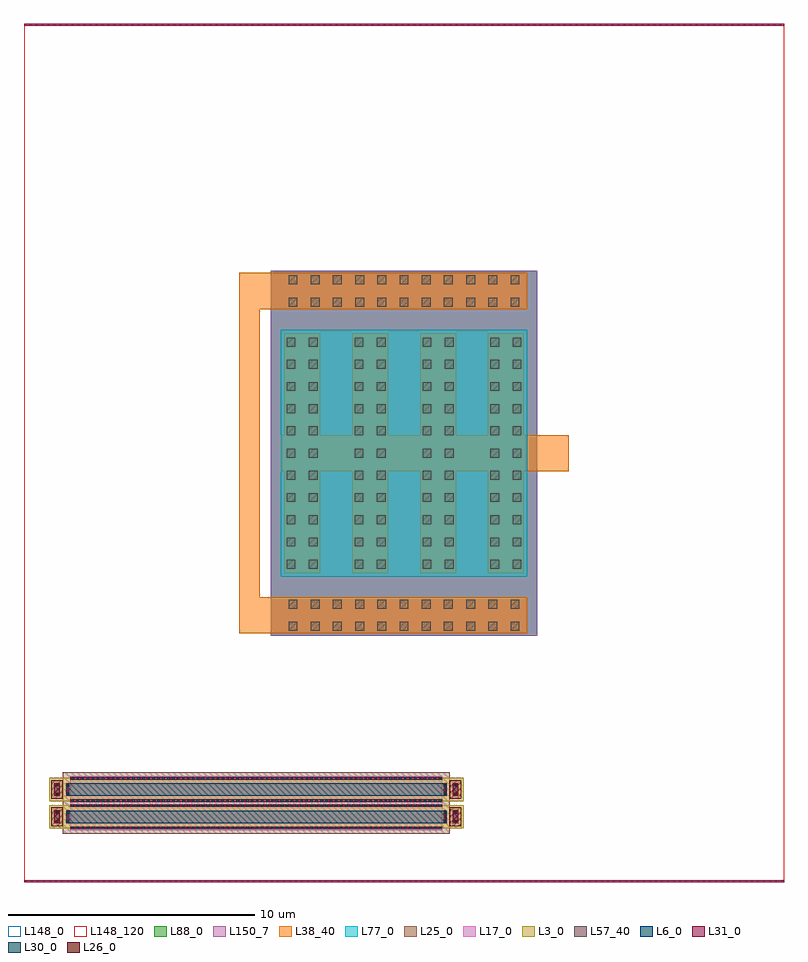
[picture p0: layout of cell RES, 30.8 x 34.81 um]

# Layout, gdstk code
import gdstk
lib = gdstk.Library(unit=1e-6, precision=1e-09)
def R(c, l, rs):  # rectangles x0, y0, x1, y1
    for r in rs: c.add(gdstk.rectangle(r[:2], r[2:], *l))
def A(c, l, x, y, w, h, nx, ny, dx, dy):  # array of equal rectangles
    R(c, l, [(x+i*dx, y+j*dy, x+i*dx+w, y+j*dy+h) for i in range(nx) for j in range(ny)])
L3_0 = (3, 0)
L6_0 = (6, 0)
L17_0 = (17, 0)
L25_0 = (25, 0)
L26_0 = (26, 0)
L30_0 = (30, 0)
L31_0 = (31, 0)
L38_40 = (38, 40)
L57_40 = (57, 40)
L77_0 = (77, 0)
L88_0 = (88, 0)
L148_0 = (148, 0)
L148_120 = (148, 120)
L150_7 = (150, 7)

mimcap_9m_2p0_cdns_73016 = lib.new_cell('mimcap_9m_2p0_CDNS_730165890590')
A(mimcap_9m_2p0_cdns_73016, L38_40, 0.14, 0.14, 1.46, 9.72, 3, 1, 2.755, 0)
R(mimcap_9m_2p0_cdns_73016, L38_40, [(-1.68,-2.3,-0.84,12.3), (-1.68,-2.3,0,-0.84), (0,-2.3,10,-0.84), (8.4,0.14,9.86,9.86), (0,4.27,11.68,5.73), (0,4.27,11.68,5.73), (10.84,4.27,11.68,5.73), (-1.68,10.84,0,12.3), (0,10.84,10,12.3)])
A(mimcap_9m_2p0_cdns_73016, L57_40, 0.32, -2.2, 0.36, 0.36, 11, 2, 0.9, 0.9)
A(mimcap_9m_2p0_cdns_73016, L57_40, 0.24, 0.32, 0.36, 0.36, 1, 11, 0, 0.9)
A(mimcap_9m_2p0_cdns_73016, L57_40, 1.14, 0.32, 0.36, 0.36, 1, 11, 0, 0.9)
A(mimcap_9m_2p0_cdns_73016, L57_40, 2.995, 0.32, 0.36, 0.36, 1, 11, 0, 0.9)
A(mimcap_9m_2p0_cdns_73016, L57_40, 3.895, 0.32, 0.36, 0.36, 1, 11, 0, 0.9)
A(mimcap_9m_2p0_cdns_73016, L57_40, 5.75, 0.32, 0.36, 0.36, 1, 11, 0, 0.9)
A(mimcap_9m_2p0_cdns_73016, L57_40, 6.65, 0.32, 0.36, 0.36, 1, 11, 0, 0.9)
A(mimcap_9m_2p0_cdns_73016, L57_40, 8.5, 0.32, 0.36, 0.36, 1, 11, 0, 0.9)
A(mimcap_9m_2p0_cdns_73016, L57_40, 9.4, 0.32, 0.36, 0.36, 1, 11, 0, 0.9)
A(mimcap_9m_2p0_cdns_73016, L57_40, 0.32, 10.94, 0.36, 0.36, 11, 2, 0.9, 0.9)
R(mimcap_9m_2p0_cdns_73016, L77_0, [(0,0,10,10)])
R(mimcap_9m_2p0_cdns_73016, L88_0, [(-0.4,-2.4,10.4,12.4)])
R(mimcap_9m_2p0_cdns_73016, L148_0, [(-10.4,-12.4,20.4,22.4)])
R(mimcap_9m_2p0_cdns_73016, L148_120, [(-10.4,-12.4,20.4,22.4)])
R(mimcap_9m_2p0_cdns_73016, L150_7, [(-0.4,-2.4,10.4,12.4)])
mimcap_9m_2p0_cdns_73016.add(gdstk.Label('& SerialNumber 000000', (0,0), layer=63, texttype=63))
mimcap_9m_2p0_cdns_73016.add(gdstk.Label('& Distributor TSMC', (0,0), layer=63, texttype=63))
mimcap_9m_2p0_cdns_73016.add(gdstk.Label('& Metric 1', (0,0), layer=63, texttype=63))
mimcap_9m_2p0_cdns_73016.add(gdstk.Label('& PDK Version "tsmcN65_DTQ::RWg\\177;oCnm~vw{v}v\\202_20120815"', (0,0), layer=63, texttype=63))
mimcap_9m_2p0_cdns_73016.add(gdstk.Label('& PDK TechNode "CRN65LP"', (0,0), layer=63, texttype=63))
mimcap_9m_2p0_cdns_73016.add(gdstk.Label('& Product    tsmcN65_PDK', (0,0), layer=63, texttype=63))
mimcap_9m_2p0_cdns_73016.add(gdstk.Label('& Vendor     Taiwan Semiconductor manufacturing Corp.', (0,0), layer=63, texttype=63))

pch_cdns_730165890591 = lib.new_cell('pch_CDNS_730165890591')
R(pch_cdns_730165890591, L3_0, [(-0.865,-0.22,15.935,0.72)])
R(pch_cdns_730165890591, L6_0, [(-0.645,0,-0.435,0.5), (-0.175,0,0,0.5), (0,0,15.07,0.5), (15.07,0,15.245,0.5), (15.505,0,15.715,0.5)])
R(pch_cdns_730165890591, L17_0, [(0,-0.29,15.07,-0.1), (0,-0.1,15.07,0), (0,0,15.07,0.5), (0,0.5,15.07,0.6), (0,0.6,15.07,0.79)])
R(pch_cdns_730165890591, L25_0, [(-0.305,-0.44,15.375,0.05), (-0.305,-0.34,15.375,0.84), (-0.305,0.45,15.375,0.94)])
R(pch_cdns_730165890591, L26_0, [(-0.775,-0.13,-0.305,0.63), (15.375,-0.13,15.845,0.63)])
A(pch_cdns_730165890591, L30_0, 0.05, -0.24, 0.09, 0.09, 17, 2, 0.205, 0.89)
A(pch_cdns_730165890591, L30_0, 3.53, -0.24, 0.09, 0.09, 58, 2, 0.2, 0.89)
R(pch_cdns_730165890591, L30_0, [(-0.585,0.03,-0.495,0.12), (-0.145,0.03,-0.055,0.12), (15.125,0.03,15.215,0.12), (15.565,0.03,15.655,0.12), (-0.585,0.38,-0.495,0.47), (-0.145,0.38,-0.055,0.47), (15.125,0.38,15.215,0.47), (15.565,0.38,15.655,0.47)])
R(pch_cdns_730165890591, L31_0, [(-0.145,-0.01,-0.055,0.51), (15.125,-0.01,15.215,0.51)])
pch_cdns_730165890591.add(gdstk.FlexPath([(0,-0.195),(15.07,-0.195)], 0.09, ends="flush", simple_path=True, layer=31, datatype=0))  # L31_0
pch_cdns_730165890591.add(gdstk.FlexPath([(0,0.695),(15.07,0.695)], 0.09, ends="flush", simple_path=True, layer=31, datatype=0))  # L31_0
pch_cdns_730165890591.add(gdstk.FlexPath([(15.61,-0.01),(15.61,0.51)], 0.21, ends="flush", simple_path=True, layer=31, datatype=0))  # L31_0
pch_cdns_730165890591.add(gdstk.FlexPath([(-0.54,-0.01),(-0.54,0.51)], 0.21, ends="flush", simple_path=True, layer=31, datatype=0))  # L31_0
pch_cdns_730165890591.add(gdstk.Label('& SerialNumber 000000', (0,0), layer=63, texttype=63))
pch_cdns_730165890591.add(gdstk.Label('& Distributor TSMC', (0,0), layer=63, texttype=63))
pch_cdns_730165890591.add(gdstk.Label('& Metric 1', (0,0), layer=63, texttype=63))
pch_cdns_730165890591.add(gdstk.Label('& PDK Version "tsmcN65_DTQ::RWg\\177;oCnm~vw{v}v\\202_20120815"', (0,0), layer=63, texttype=63))
pch_cdns_730165890591.add(gdstk.Label('& PDK TechNode "CRN65LP"', (0,0), layer=63, texttype=63))
pch_cdns_730165890591.add(gdstk.Label('& Product    tsmcN65_PDK', (0,0), layer=63, texttype=63))
pch_cdns_730165890591.add(gdstk.Label('& Vendor     Taiwan Semiconductor manufacturing Corp.', (0,0), layer=63, texttype=63))
pch_cdns_730165890591.add(gdstk.Label('[@instanceName]', (7.535,0.25), layer=127, texttype=0))
pch_cdns_730165890591.add(gdstk.Label('pch_0.5/15.07_', (0,0), layer=127, texttype=0))
pch_cdns_730165890591.add(gdstk.Label('B', (15.61,0.25), layer=127, texttype=0))
pch_cdns_730165890591.add(gdstk.Label('B', (-0.54,0.25), layer=127, texttype=0))
pch_cdns_730165890591.add(gdstk.Label('D', (15.17,0.25), layer=127, texttype=0))
pch_cdns_730165890591.add(gdstk.Label('S', (-0.1,0.25), layer=127, texttype=0))

res = lib.new_cell('RES')
R(res, L31_0, [(0,6.21,30.8,6.3), (0,40.93,30.8,41.02)])
res.add(gdstk.Reference(mimcap_9m_2p0_cdns_73016, (10.4,18.61)))
res.add(gdstk.Reference(pch_cdns_730165890591, (1.88,8.62)))
res.add(gdstk.Reference(pch_cdns_730165890591, (1.88,9.73)))

lib.write_gds('RES.gds')
